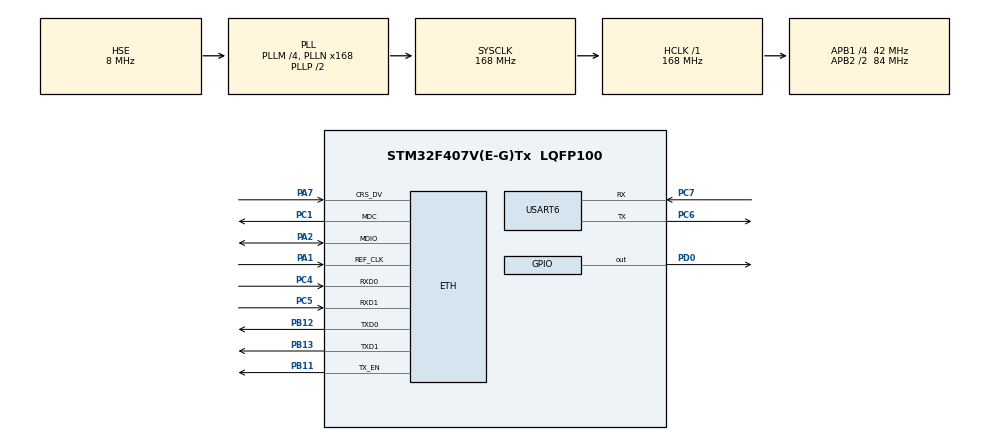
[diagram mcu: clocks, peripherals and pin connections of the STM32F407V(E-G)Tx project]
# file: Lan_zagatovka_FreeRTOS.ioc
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ETH.MediaInterface=ETH_MEDIA_INTERFACE_RMII
FREERTOS.Tasks01=defaultTask,24,4096,StartDefaultTask,Default,NULL,Static,defaultTaskBuffer,defaultTaskControlBlock;my_LED_Task,8,128,Start_LED_Task,Default,NULL,Dynamic,NULL,NULL;my_TEST_Task,8,128,Start_TEST_Task,Default,NULL,Dynamic,NULL,NULL
FREERTOS.configTOTAL_HEAP_SIZE=15360
FREERTOS.configUSE_NEWLIB_REENTRANT=1
LWIP.GATEWAY_ADDRESS=192.168.018.001
LWIP.IP_ADDRESS=192.168.018.111
LWIP.LWIP_DHCP=0
LWIP.LWIP_HTTPD=1
LWIP.LWIP_HTTPD_CGI=1
LWIP.LWIP_HTTPD_DYNAMIC_HEADERS=1
LWIP.LWIP_HTTPD_MAX_TAG_INSERT_LEN=800
LWIP.LWIP_HTTPD_SSI=1
LWIP.LWIP_HTTPD_SSI_INCLUDE_TAG=0
LWIP.LWIP_HTTPD_SSI_MULTIPART=1
LWIP.LWIP_HTTPD_SUPPORT_POST=1
LWIP.MEMP_NUM_TCP_PCB=6
LWIP.MEMP_NUM_UDP_PCB=5
LWIP.NETMASK_ADDRESS=255.255.255.000
LWIP.TCPIP_THREAD_STACKSIZE=3072
LWIP.Version=v2.1.2_Cube
Mcu.Family=STM32F4
Mcu.Name=STM32F407V(E-G)Tx
Mcu.Package=LQFP100
NVIC.ETH_IRQn=true\:5\:0\:false\:false\:true\:true\:false\:true
NVIC.PriorityGroup=NVIC_PRIORITYGROUP_4
NVIC.TIM8_TRG_COM_TIM14_IRQn=true\:15\:0\:false\:false\:true\:false\:false\:true
NVIC.TimeBase=TIM8_TRG_COM_TIM14_IRQn
NVIC.TimeBaseIP=TIM14
PA1.Mode=RMII
PA1.Signal=ETH_REF_CLK
PA13.Mode=Serial_Wire
PA13.Signal=SYS_JTMS-SWDIO
PA14.Mode=Serial_Wire
PA14.Signal=SYS_JTCK-SWCLK
PA2.Mode=RMII
PA2.Signal=ETH_MDIO
PA7.Mode=RMII
PA7.Signal=ETH_CRS_DV
PB11.Mode=RMII
PB11.Signal=ETH_TX_EN
PB12.Mode=RMII
PB12.Signal=ETH_TXD0
PB13.Mode=RMII
PB13.Signal=ETH_TXD1
PC1.Mode=RMII
PC1.Signal=ETH_MDC
PC4.Mode=RMII
PC4.Signal=ETH_RXD0
PC5.Mode=RMII
PC5.Signal=ETH_RXD1
PC6.Mode=Asynchronous
PC6.Signal=USART6_TX
PC7.Mode=Asynchronous
PC7.Signal=USART6_RX
PD0.Signal=GPIO_Output
PH0-OSC_IN.Mode=HSE-External-Oscillator
PH0-OSC_IN.Signal=RCC_OSC_IN
PH1-OSC_OUT.Mode=HSE-External-Oscillator
PH1-OSC_OUT.Signal=RCC_OSC_OUT
ProjectManager.HeapSize=0x200
ProjectManager.StackSize=0x400
ProjectManager.TargetToolchain=STM32CubeIDE
RCC.48MHZClocksFreq_Value=84000000
RCC.AHBFreq_Value=168000000
RCC.APB1CLKDivider=RCC_HCLK_DIV4
RCC.APB1Freq_Value=42000000
RCC.APB1TimFreq_Value=84000000
RCC.APB2CLKDivider=RCC_HCLK_DIV2
RCC.APB2Freq_Value=84000000
RCC.APB2TimFreq_Value=168000000
RCC.CortexFreq_Value=168000000
RCC.HCLKFreq_Value=168000000
RCC.HSE_VALUE=8000000
RCC.HSI_VALUE=16000000
RCC.LSE_VALUE=32768
RCC.PLLM=4
RCC.PLLN=168
RCC.PLLSourceVirtual=RCC_PLLSOURCE_HSE
RCC.SYSCLKFreq_VALUE=168000000
RCC.SYSCLKSource=RCC_SYSCLKSOURCE_PLLCLK
RCC.VCOOutputFreq_Value=336000000
USART6.VirtualMode=VM_ASYNC
VP_FREERTOS_VS_CMSIS_V2.Mode=CMSIS_V2
VP_LWIP_VS_Enabled.Mode=Enabled
VP_SYS_VS_tim14.Mode=TIM14
board=custom

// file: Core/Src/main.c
/* USER CODE BEGIN Header */
/**
  ******************************************************************************
  * @file           : main.c
  * @brief          : Main program body
  ******************************************************************************
  * @attention
  *
  * Copyright (c) 2022 STMicroelectronics.
  * All rights reserved.
  *
  * This software is licensed under terms that can be found in the LICENSE file
  * in the root directory of this software component.
  * If no LICENSE file comes with this software, it is provided AS-IS.
  *
  ******************************************************************************
  */
/* USER CODE END Header */
#include "main.h"
#include "cmsis_os.h"
#include "lwip.h"

/* USER CODE BEGIN Includes */
#include "stdbool.h"

#include "db.h"
#include <stdio.h>/* для printf */
#include "http_ssi.h"
#include "lwip/apps/httpd.h" // including httpd.h [- HTTPd #1 -]

/* USER CODE END Includes */

typedef StaticTask_t osStaticThreadDef_t;
/* USER CODE BEGIN PTD */
bool flag;
unsigned long Tim;
/* USER CODE END PTD */

UART_HandleTypeDef huart6;

/* Definitions for defaultTask */
osThreadId_t defaultTaskHandle;
uint32_t defaultTaskBuffer[ 4096 ];
osStaticThreadDef_t defaultTaskControlBlock;
const osThreadAttr_t defaultTask_attributes = {
  .name = "defaultTask",
  .cb_mem = &defaultTaskControlBlock,
  .cb_size = sizeof(defaultTaskControlBlock),
  .stack_mem = &defaultTaskBuffer[0],
  .stack_size = sizeof(defaultTaskBuffer),
  .priority = (osPriority_t) osPriorityNormal,
};
/* Definitions for my_LED_Task */
osThreadId_t my_LED_TaskHandle;
const osThreadAttr_t my_LED_Task_attributes = {
  .name = "my_LED_Task",
  .stack_size = 128 * 4,
  .priority = (osPriority_t) osPriorityLow,
};
/* Definitions for my_TEST_Task */
osThreadId_t my_TEST_TaskHandle;
const osThreadAttr_t my_TEST_Task_attributes = {
  .name = "my_TEST_Task",
  .stack_size = 128 * 4,
  .priority = (osPriority_t) osPriorityLow,
};

void SystemClock_Config(void);
static void MX_GPIO_Init(void);
static void MX_USART6_UART_Init(void);
void StartDefaultTask(void *argument);
void Start_LED_Task(void *argument);
void Start_TEST_Task(void *argument);

/* USER CODE BEGIN PFP */
int _write(int file, char *ptr, int len) {
	int i;
	HAL_UART_Transmit(&huart6, (uint8_t*) ptr, len, 50);
	for (i = 0; i < len; i++) {
		ITM_SendChar(*ptr++);
	}
	return len;
}
/* USER CODE END PFP */

/* USER CODE BEGIN 0 */
struct netif gnetif;
/* USER CODE END 0 */

int main(void)
{

  /* MCU Configuration--------------------------------------------------------*/

  /* Reset of all peripherals, Initializes the Flash interface and the Systick. */
  HAL_Init();

  /* USER CODE BEGIN Init */
	Tim = HAL_GetTick();
	flag = 1;
  /* USER CODE END Init */

  /* Configure the system clock */
  SystemClock_Config();

  /* Initialize all configured peripherals */
  MX_GPIO_Init();
  MX_USART6_UART_Init();

  /* Init scheduler */
  osKernelInitialize();

  /* Create the thread(s) */
  /* creation of defaultTask */
  defaultTaskHandle = osThreadNew(StartDefaultTask, NULL, &defaultTask_attributes);

  /* creation of my_LED_Task */
  my_LED_TaskHandle = osThreadNew(Start_LED_Task, NULL, &my_LED_Task_attributes);

  /* creation of my_TEST_Task */
  my_TEST_TaskHandle = osThreadNew(Start_TEST_Task, NULL, &my_TEST_Task_attributes);

  /* Start scheduler */
  osKernelStart();

  /* We should never get here as control is now taken by the scheduler */
  /* Infinite loop */
  while (1)
  {

  }
}

void SystemClock_Config(void)
{
  RCC_OscInitTypeDef RCC_OscInitStruct = {0};
  RCC_ClkInitTypeDef RCC_ClkInitStruct = {0};

  /** Configure the main internal regulator output voltage
  */
  __HAL_RCC_PWR_CLK_ENABLE();
  __HAL_PWR_VOLTAGESCALING_CONFIG(PWR_REGULATOR_VOLTAGE_SCALE1);
  /** Initializes the RCC Oscillators according to the specified parameters
  * in the RCC_OscInitTypeDef structure.
  */
  RCC_OscInitStruct.OscillatorType = RCC_OSCILLATORTYPE_HSE;
  RCC_OscInitStruct.HSEState = RCC_HSE_ON;
  RCC_OscInitStruct.PLL.PLLState = RCC_PLL_ON;
  RCC_OscInitStruct.PLL.PLLSource = RCC_PLLSOURCE_HSE;
  RCC_OscInitStruct.PLL.PLLM = 4;
  RCC_OscInitStruct.PLL.PLLN = 168;
  RCC_OscInitStruct.PLL.PLLP = RCC_PLLP_DIV2;
  RCC_OscInitStruct.PLL.PLLQ = 4;
  if (HAL_RCC_OscConfig(&RCC_OscInitStruct) != HAL_OK)
  {
    Error_Handler();
  }
  /** Initializes the CPU, AHB and APB buses clocks
  */
  RCC_ClkInitStruct.ClockType = RCC_CLOCKTYPE_HCLK|RCC_CLOCKTYPE_SYSCLK
                              |RCC_CLOCKTYPE_PCLK1|RCC_CLOCKTYPE_PCLK2;
  RCC_ClkInitStruct.SYSCLKSource = RCC_SYSCLKSOURCE_PLLCLK;
  RCC_ClkInitStruct.AHBCLKDivider = RCC_SYSCLK_DIV1;
  RCC_ClkInitStruct.APB1CLKDivider = RCC_HCLK_DIV4;
  RCC_ClkInitStruct.APB2CLKDivider = RCC_HCLK_DIV2;

  if (HAL_RCC_ClockConfig(&RCC_ClkInitStruct, FLASH_LATENCY_5) != HAL_OK)
  {
    Error_Handler();
  }
}

static void MX_USART6_UART_Init(void)
{

  huart6.Instance = USART6;
  huart6.Init.BaudRate = 115200;
  huart6.Init.WordLength = UART_WORDLENGTH_8B;
  huart6.Init.StopBits = UART_STOPBITS_1;
  huart6.Init.Parity = UART_PARITY_NONE;
  huart6.Init.Mode = UART_MODE_TX_RX;
  huart6.Init.HwFlowCtl = UART_HWCONTROL_NONE;
  huart6.Init.OverSampling = UART_OVERSAMPLING_16;
  if (HAL_UART_Init(&huart6) != HAL_OK)
  {
    Error_Handler();
  }

}

static void MX_GPIO_Init(void)
{
  GPIO_InitTypeDef GPIO_InitStruct = {0};

  /* GPIO Ports Clock Enable */
  __HAL_RCC_GPIOH_CLK_ENABLE();
  __HAL_RCC_GPIOC_CLK_ENABLE();
  __HAL_RCC_GPIOA_CLK_ENABLE();
  __HAL_RCC_GPIOB_CLK_ENABLE();
  __HAL_RCC_GPIOD_CLK_ENABLE();

  /*Configure GPIO pin Output Level */
  HAL_GPIO_WritePin(GPIOD, GPIO_PIN_0, GPIO_PIN_RESET);

  /*Configure GPIO pin : PD0 */
  GPIO_InitStruct.Pin = GPIO_PIN_0;
  GPIO_InitStruct.Mode = GPIO_MODE_OUTPUT_PP;
  GPIO_InitStruct.Pull = GPIO_NOPULL;
  GPIO_InitStruct.Speed = GPIO_SPEED_FREQ_LOW;
  HAL_GPIO_Init(GPIOD, &GPIO_InitStruct);

}

void StartDefaultTask(void *argument)
{
  /* init code for LWIP */
  MX_LWIP_Init();
  /* USER CODE BEGIN 5 */
  http_server_init();
  /* Infinite loop */
  for(;;)
  {
//	  ethernetif_input(&gnetif);/* Read a received packet from the Ethernet buffers and send it
//	         to the lwIP for handling */
//	  	  sys_check_timeouts();/* Handle timeouts */
//
    osDelay(1);
  }
  /* USER CODE END 5 */
}

void Start_LED_Task(void *argument)
{
  /* USER CODE BEGIN Start_LED_Task */
  /* Infinite loop */
  for(;;)
  {
		if (flag == 1) {
			if (HAL_GetTick() - Tim >= 250) {
				flag = 0;
				Tim = HAL_GetTick();
			}
		}
		HAL_GPIO_WritePin(GPIOD, GPIO_PIN_0, flag);
  }
  /* USER CODE END Start_LED_Task */
}

void Start_TEST_Task(void *argument)
{
  /* USER CODE BEGIN Start_TEST_Task */
  /* Infinite loop */
  for(;;)
  {
		if (flag == 0) {
			if (HAL_GetTick() - Tim >= 250) {
				flag = 1;
				Tim = HAL_GetTick();
			}
		}
		HAL_GPIO_WritePin(GPIOD, GPIO_PIN_0, flag);
		//osDelay(1);
	}
  /* USER CODE END Start_TEST_Task */
}

void HAL_TIM_PeriodElapsedCallback(TIM_HandleTypeDef *htim)
{
  if (htim->Instance == TIM14) {
    HAL_IncTick();
  }
}

void Error_Handler(void)
{
  __disable_irq();
  while (1)
  {
  }
}
